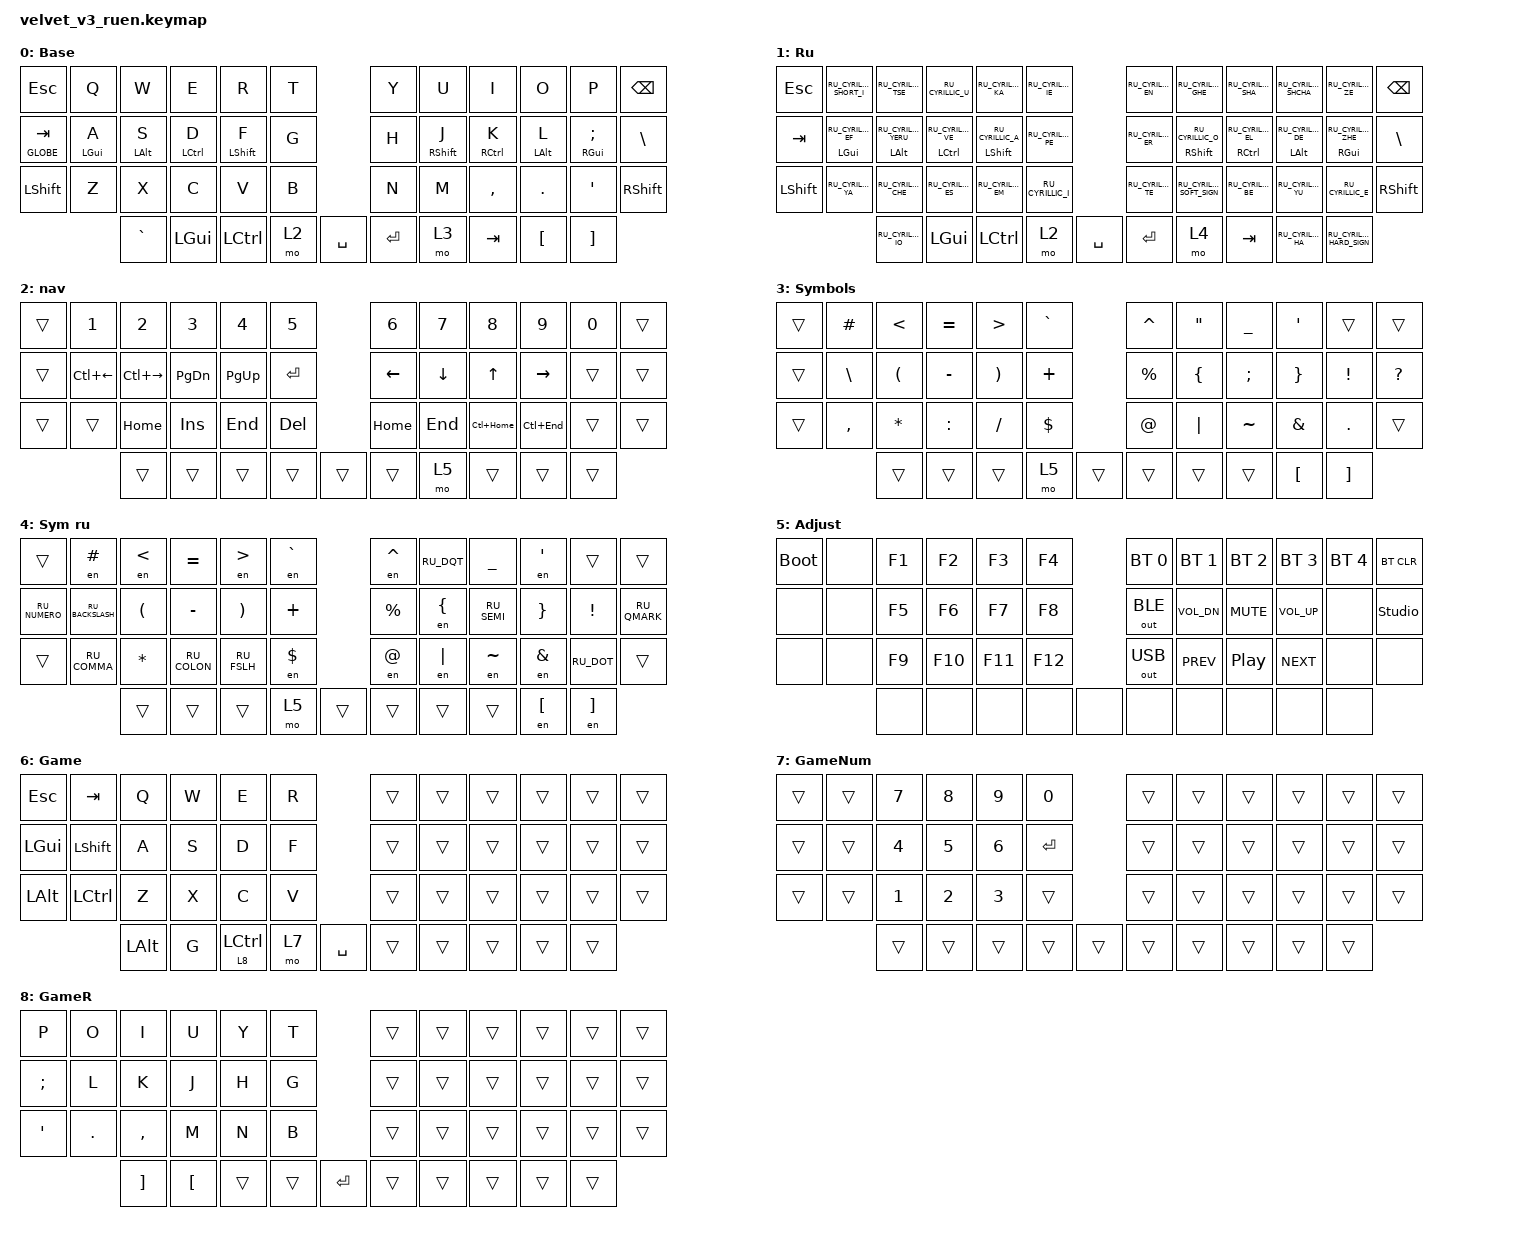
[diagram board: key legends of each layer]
#include "keys_ru.h"
#include <dt-bindings/zmk/modifiers.h>
#include <behaviors.dtsi>
#include <dt-bindings/zmk/bt.h>
#include <dt-bindings/zmk/keys.h>
#include <dt-bindings/zmk/outputs.h>

/ {
    behaviors {
        hml: homerow_mod_left {
            compatible = "zmk,behavior-hold-tap";
            #binding-cells = <2>;
            tapping-term-ms = <280>;
            quick-tap-ms = <175>;
            require-prior-idle-ms = <150>;
            flavor = "balanced";
            hold-trigger-key-positions = <6 7 8 9 10 11 18 19 20 21 22 23 30 31 32 33 34 35 41 42 43 44 45>;
            hold-trigger-on-release;
            bindings = <&kp>, <&kp>;
        };

        hmr: homerow_mod_right {
            compatible = "zmk,behavior-hold-tap";
            #binding-cells = <2>;
            tapping-term-ms = <280>;
            quick-tap-ms = <175>;
            require-prior-idle-ms = <150>;
            flavor = "balanced";
            hold-trigger-key-positions = <0 1 2 3 4 5 12 13 14 15 16 17 24 25 26 27 28 29 36 37 38 39 40>;
            hold-trigger-on-release;
            bindings = <&kp>, <&kp>;
        };

        spc_lt: space_layer_tap {
            compatible = "zmk,behavior-hold-tap";
            #binding-cells = <2>;
            tapping-term-ms = <200>;
            quick-tap-ms = <150>;
            flavor = "balanced";
            bindings = <&mo>, <&kp>;
        };

        ru_space: ru_space {
            compatible = "zmk,behavior-mod-morph";
            #binding-cells = <0>;
            bindings = <&kp SPACE>, <&layer_ru>;

            mods = <(MOD_LGUI)>;
        };

        en_space: en_space {
            compatible = "zmk,behavior-mod-morph";
            #binding-cells = <0>;
            bindings = <&kp SPACE>, <&layer_en>;

            mods = <(MOD_LGUI)>;
        };
    };

    combos {
        compatible = "zmk,combos";

        cmben {
            bindings = <&layer_en>;
            key-positions = <3 4>;
            layers = <1>;
        };

        cmbru {
            bindings = <&layer_ru>;
            key-positions = <3 4>;
            layers = <0>;
        };

        cmblock {
            bindings = <&kp LG(LC(Q))>;
            key-positions = <14 15 16>;
            timeout-ms = <50>;
            layers = <0 1>;
        };

        cmbgame {
            bindings = <&tog 6>;
            key-positions = <26 27 28>;
            layers = <0 1 6>;
            timeout-ms = <50>;
        };
    };

    macros {
        to_ru: to_ru {
            compatible = "zmk,behavior-macro";
            #binding-cells = <0>;
            bindings = <&kp LS(LC(N2))>;
            label = "TO_RU";
            wait-ms = <0>;
            tap-ms = <30>;
        };

        to_en: to_en {
            compatible = "zmk,behavior-macro";
            #binding-cells = <0>;
            bindings = <&kp LS(LC(N1))>;
            label = "TO_EN";
            wait-ms = <0>;
            tap-ms = <30>;
        };

        layer_en: layer_en {
            compatible = "zmk,behavior-macro";
            #binding-cells = <0>;
            bindings = <&to 0 &to_en>;
            label = "LAYER_EN";
            wait-ms = <0>;
            tap-ms = <30>;
        };

        layer_ru: layer_ru {
            compatible = "zmk,behavior-macro";
            #binding-cells = <0>;
            bindings = <&to 1 &to_ru>;
            label = "LAYER_RU";
            tap-ms = <30>;
            wait-ms = <0>;
        };

        en: en {
            compatible = "zmk,behavior-macro-one-param";
            #binding-cells = <1>;
            bindings =
                <&to_en>,
                <&macro_press>,
                <&macro_param_1to1 &kp MACRO_PLACEHOLDER>,
                <&macro_pause_for_release>,
                <&macro_release>,
                <&macro_param_1to1 &kp MACRO_PLACEHOLDER>,
                <&macro_tap>,
                <&to_ru>;

            label = "EN";
            wait-ms = <0>;
            tap-ms = <30>;
        };
    };

    keymap {
        compatible = "zmk,keymap";

        en {
            bindings = <
&kp ESC         &kp Q        &kp W        &kp E         &kp R             &kp T                        &kp Y  &kp U         &kp I         &kp O        &kp P           &kp BSPC
&hml GLOBE TAB  &hml LGUI A  &hml LALT S  &hml LCTRL D  &hml LSHFT F      &kp G                        &kp H  &hmr RSHFT J  &hmr RCTRL K  &hmr LALT L  &hmr RGUI SEMI  &kp BSLH
&kp LSHFT       &kp Z        &kp X        &kp C         &kp V             &kp B                        &kp N  &kp M         &kp COMMA     &kp DOT      &kp SQT         &kp RSHFT
                             &kp GRAVE    &kp LGUI      &kp LEFT_CONTROL  &mo 2  &kp SPACE    &kp RET  &mo 3  &kp TAB       &kp LBKT      &kp RBKT
            >;

            display-name = "Base";
        };

        ru {
            display-name = "Ru";
            bindings = <
&kp ESC    &kp RU_CYRILLIC_SHORT_I   &kp RU_CYRILLIC_TSE         &kp RU_CYRILLIC_U          &kp RU_CYRILLIC_KA        &kp RU_CYRILLIC_IE                        &kp RU_CYRILLIC_EN  &kp RU_CYRILLIC_GHE        &kp RU_CYRILLIC_SHA        &kp RU_CYRILLIC_SHCHA      &kp RU_CYRILLIC_ZE         &kp BSPC
&kp TAB    &hml LGUI RU_CYRILLIC_EF  &hml LALT RU_CYRILLIC_YERU  &hml LCTRL RU_CYRILLIC_VE  &hml LSHFT RU_CYRILLIC_A  &kp RU_CYRILLIC_PE                        &kp RU_CYRILLIC_ER  &hmr RSHFT RU_CYRILLIC_O   &hmr RCTRL RU_CYRILLIC_EL  &hmr LALT RU_CYRILLIC_DE   &hmr RGUI RU_CYRILLIC_ZHE  &kp BSLH
&kp LSHFT  &kp RU_CYRILLIC_YA        &kp RU_CYRILLIC_CHE         &kp RU_CYRILLIC_ES         &kp RU_CYRILLIC_EM        &kp RU_CYRILLIC_I                         &kp RU_CYRILLIC_TE  &kp RU_CYRILLIC_SOFT_SIGN  &kp RU_CYRILLIC_BE         &kp RU_CYRILLIC_YU         &kp RU_CYRILLIC_E          &kp RSHFT
                                     &kp RU_CYRILLIC_IO          &kp LGUI                   &kp LCTRL                 &mo 2               &kp SPACE    &kp RET  &mo 4               &kp TAB                    &kp RU_CYRILLIC_HA         &kp RU_CYRILLIC_HARD_SIGN
            >;
        };

        nav {
            bindings = <
&trans  &kp N1        &kp N2         &kp N3     &kp N4     &kp N5                     &kp N6    &kp N7    &kp N8        &kp N9       &kp N0  &trans
&trans  &kp LC(LEFT)  &kp LC(RIGHT)  &kp PG_DN  &kp PG_UP  &kp RET                    &kp LEFT  &kp DOWN  &kp UP        &kp RIGHT    &trans  &trans
&trans  &trans        &kp HOME       &kp INS    &kp END    &kp DEL                    &kp HOME  &kp END   &kp LC(HOME)  &kp LC(END)  &trans  &trans
                      &trans         &trans     &trans     &trans   &trans    &trans  &mo 5     &trans    &trans        &trans
            >;

            display-name = "nav";
            label = "Navigation";
        };

        sym_en {
            bindings = <
&trans  &kp HASH   &kp LT    &kp EQUAL  &kp GT    &kp GRAVE                    &kp CARET  &kp DQT   &kp UNDER  &kp SQT   &trans    &trans
&trans  &kp BSLH   &kp LPAR  &kp MINUS  &kp RPAR  &kp PLUS                     &kp PRCNT  &kp LBRC  &kp SEMI   &kp RBRC  &kp EXCL  &kp QUESTION
&trans  &kp COMMA  &kp STAR  &kp COLON  &kp FSLH  &kp DLLR                     &kp AT     &kp PIPE  &kp TILDE  &kp AMPS  &kp DOT   &trans
                   &trans    &trans     &trans    &mo 5      &trans    &trans  &trans     &trans    &kp LBKT   &kp RBKT
            >;

            display-name = "Symbols";
        };

        sym_ru {
            display-name = "Sym ru";
            bindings = <
&trans         &en HASH          &en LT    &kp EQUAL     &en GT       &en GRAVE                    &en CARET  &kp RU_DQT  &kp UNDER    &en SQT   &trans      &trans
&kp RU_NUMERO  &kp RU_BACKSLASH  &kp LPAR  &kp MINUS     &kp RPAR     &kp PLUS                     &kp PRCNT  &en LBRC    &kp RU_SEMI  &kp RBRC  &kp EXCL    &kp RU_QMARK
&trans         &kp RU_COMMA      &kp STAR  &kp RU_COLON  &kp RU_FSLH  &en DLLR                     &en AT     &en PIPE    &en TILDE    &en AMPS  &kp RU_DOT  &trans
                                 &trans    &trans        &trans       &mo 5      &trans    &trans  &trans     &trans      &en LBKT     &en RBKT
            >;
        };

        adj {
            bindings = <
&bootloader  &none  &kp F1  &kp F2   &kp F3   &kp F4                   &bt BT_SEL 0  &bt BT_SEL 1  &bt BT_SEL 2      &bt BT_SEL 3  &bt BT_SEL 4  &bt BT_CLR
&none        &none  &kp F5  &kp F6   &kp F7   &kp F8                   &out OUT_BLE  &kp C_VOL_DN  &kp C_MUTE        &kp C_VOL_UP  &none         &studio_unlock
&none        &none  &kp F9  &kp F10  &kp F11  &kp F12                  &out OUT_USB  &kp C_PREV    &kp C_PLAY_PAUSE  &kp C_NEXT    &none         &none
                    &none   &none    &none    &none    &none    &none  &none         &none         &none             &none
            >;

            display-name = "Adjust";
        };

        game {
            bindings = <
&kp ESC   &kp TAB    &kp Q     &kp W  &kp E        &kp R                       &trans  &trans  &trans  &trans  &trans  &trans
&kp LGUI  &kp LSHFT  &kp A     &kp S  &kp D        &kp F                       &trans  &trans  &trans  &trans  &trans  &trans
&kp LALT  &kp LCTRL  &kp Z     &kp X  &kp C        &kp V                       &trans  &trans  &trans  &trans  &trans  &trans
                     &kp LALT  &kp G  &lt 8 LCTRL  &mo 7  &kp SPACE    &trans  &trans  &trans  &trans  &trans
            >;

            display-name = "Game";
        };

        game_num {
            bindings = <
&trans  &trans  &kp N7  &kp N8  &kp N9  &kp N0                       &trans  &trans  &trans  &trans  &trans  &trans
&trans  &trans  &kp N4  &kp N5  &kp N6  &kp ENTER                    &trans  &trans  &trans  &trans  &trans  &trans
&trans  &trans  &kp N1  &kp N2  &kp N3  &trans                       &trans  &trans  &trans  &trans  &trans  &trans
                &trans  &trans  &trans  &trans     &trans    &trans  &trans  &trans  &trans  &trans
            >;

            display-name = "GameNum";
        };

        game_right {
            bindings = <
&kp P     &kp O    &kp I      &kp U     &kp Y   &kp T                      &trans  &trans  &trans  &trans  &trans  &trans
&kp SEMI  &kp L    &kp K      &kp J     &kp H   &kp G                      &trans  &trans  &trans  &trans  &trans  &trans
&kp SQT   &kp DOT  &kp COMMA  &kp M     &kp N   &kp B                      &trans  &trans  &trans  &trans  &trans  &trans
                   &kp RBKT   &kp LBKT  &trans  &trans  &kp RET    &trans  &trans  &trans  &trans  &trans
            >;

            display-name = "GameR";
        };
    };
};
